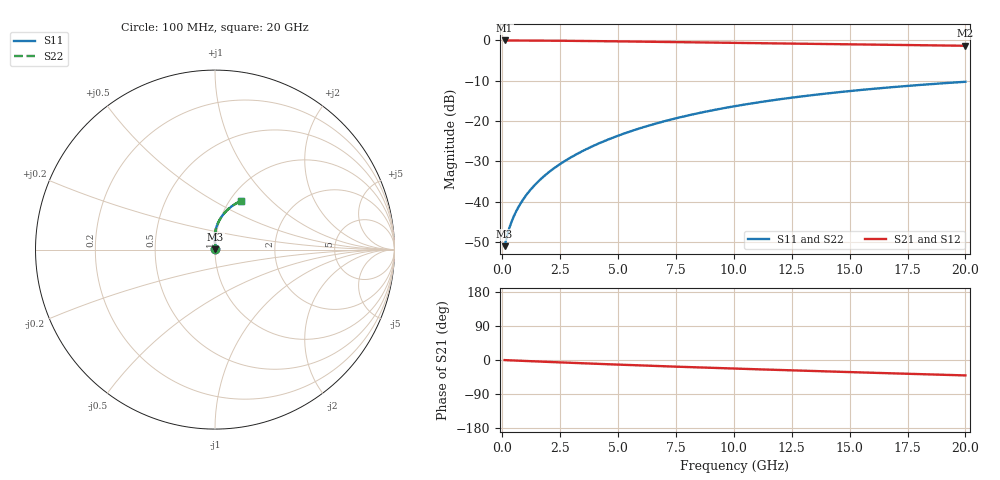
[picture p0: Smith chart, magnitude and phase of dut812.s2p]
! Touchstone file exported from HFSS 2024.1.0
!  File:  C:/UserFiles/LocalFiles/RDL_TSV_Batchsim/temp_RDL_top_812_1779854191.aedt
!  Generated:  11:58:37 AM May 27, 2026
!  Design:  RDL_top
!  Project:  temp_RDL_top_812_1779854191
!  Setup:  Setup1
!  Solution:  Sweep
! Variables:
!  dtsv = 10.80580581um
!  hbump = 3um
!  htsv = 76.67um
!  ldown = 100um
!  lrdl = 601.03um
!  p = 40
!  p1 = 53.39um
!  rhole = 1um
!  t = 450um
!  tdown = 3.915915916um
!  trdl = 3.29um
!  wdown = 15.38538539um
!  wrdl = 29.82um
# GHz S MA R 50.000000
! Terminal data exported
! Port[1] = Box2_T1
! Port[2] = Box2_T2
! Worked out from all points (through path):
!   200 points, 100 MHz to 20 GHz, reference 50 ohm
!   highest |S21| = -0.02 dB at 100 MHz (marker M1); lowest = -1.3 dB at 20 GHz (marker M2)
!   group delay of S21, straight-line fit = 5.56 ps
!   lowest |S11| = -51.0 dB at 100 MHz (marker M3), VSWR 1.01, Z = 50.2 + j0.138 ohm
!   |S11| at or under -10 dB: start of sweep to end of sweep
!   |S22| runs from -51.0 to -10.3 dB; largest |S21 - S12| = 3.4e-15
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0.1  0.002814 29.3  0.9975 -0.3  0.9975 -0.3  0.002814 29.3
! Gamma 0 0 0 0
! Port Impedance 50 0 50 0
0.2  0.003722 45.1  0.9973 -0.5  0.9973 -0.5  0.003722 45.1
0.3  0.004695 53.6  0.9971 -0.8  0.9971 -0.8  0.004695 53.6
0.4  0.005661 59.4  0.9968 -1.1  0.9968 -1.1  0.005661 59.4
0.5  0.006628 63.7  0.9966 -1.3  0.9966 -1.3  0.006629 63.7
0.8  0.009628 72.6  0.996 -2.1  0.996 -2.1  0.009629 72.6
1  0.01172 76.4  0.9955 -2.6  0.9955 -2.6  0.01172 76.4
1.2  0.01388 79.3  0.9949 -3.1  0.9949 -3.1  0.01388 79.3
1.7  0.01955 84.2  0.9932 -4.3  0.9932 -4.3  0.01955 84.2
2.2  0.02557 87.3  0.991 -5.6  0.991 -5.6  0.02557 87.3
2.8  0.03329 89.6  0.9878 -7.0  0.9878 -7.0  0.03329 89.6
3.5  0.04296 91.1  0.9834 -8.7  0.9834 -8.7  0.04297 91.1
4.2  0.05331 91.7  0.9784 -10.4  0.9784 -10.4  0.05331 91.7
5  0.06584 91.6  0.9723 -12.2  0.9723 -12.2  0.06585 91.6
5.9  0.08067 90.8  0.965 -14.2  0.965 -14.2  0.08068 90.8
6.8  0.09603 89.6  0.9576 -16.1  0.9576 -16.1  0.09604 89.6
8.4  0.124 86.6  0.9444 -19.4  0.9444 -19.4  0.124 86.6
10.1  0.1539 83.0  0.9307 -22.8  0.9307 -22.8  0.1539 83.0
11.7  0.1815 79.4  0.9181 -25.8  0.9181 -25.8  0.1815 79.4
13.4  0.2098 75.6  0.9052 -29.0  0.9052 -29.0  0.2098 75.6
16.7  0.2611 68.5  0.8808 -35.0  0.8808 -35.0  0.2611 68.5
20  0.3069 61.9  0.8572 -40.7  0.8572 -40.7  0.307 61.9
